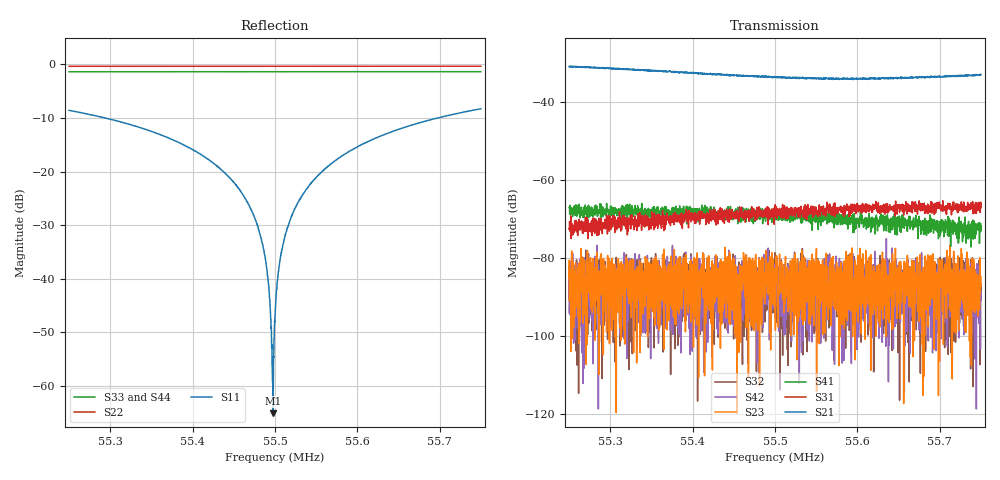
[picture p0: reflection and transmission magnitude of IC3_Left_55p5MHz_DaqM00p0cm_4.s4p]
#  HZ  S  DB  R  50.00
! Rohde & Schwarz Vector Network Analyzer
! Rohde-Schwarz,ZNB8-4Port,1311601044102961,2.82
! Created: UTC 2/12/2019, 5:01:15 PM
! freq[Hz]  db:S11  ang:S11  db:S12  ang:S12  db:S13  ang:S13  db:S14  ang:S14
!  db:S21  ang:S21  db:S22  ang:S22  db:S23  ang:S23  db:S24  ang:S24
!  db:S31  ang:S31  db:S32  ang:S32  db:S33  ang:S33  db:S34  ang:S34
!  db:S41  ang:S41  db:S42  ang:S42  db:S43  ang:S43  db:S44  ang:S44
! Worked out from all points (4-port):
!   2001 points, 55.25 MHz to 55.75 MHz, reference 50 ohm
!   strongest paths, dB at 55.25 MHz, 55.375 MHz, 55.5 MHz, 55.625 MHz, 55.75 MHz:
!     S21: -31.0, -32.2, -33.6, -34.0, -33.0
!     S31: -72.6, -70.0, -67.9, -68.4, -66.0
!     S41: -67.1, -68.6, -69.6, -70.9, -71.8
!     S23: -85.2, -83.0, -82.7, -92.2, -84.9
!     S42: -94.1, -96.9, -86.5, -91.9, -90.9
!     S32: -83.7, -85.4, -78.7, -82.1, -90.9
!   lowest |S11| = -65.1 dB at 55.4975 MHz (marker M1), VSWR 1.00, Z = 50.1 + j0.0191 ohm
!   |S11| at or under -10 dB: 55.2934 MHz to 55.6978 MHz (404.4 kHz wide, 0.729 % of centre)
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5.525e7  -8.60 -168.8  -30.90 68.4  -72.81 -26.1  -67.19 174.9
         -30.95 67.9  -0.37 94.2  -85.23 -140.1  -79.98 -3.6
         -72.57 -37.9  -83.66 -163.5  -1.39 35.4  -80.59 -146.1
         -67.09 -178.6  -94.07 24.3  -83.94 69.9  -1.38 29.0
5.5451e7  -22.24 157.9  -33.30 66.0  -68.85 -55.0  -68.81 169.3
          -33.12 67.2  -0.37 90.5  -94.16 -127.2  -81.99 -44.6
          -68.90 -53.7  -81.19 88.1  -1.38 33.0  -87.51 -8.0
          -68.79 156.9  -85.04 -39.3  -87.15 -23.8  -1.37 26.6
5.548425e7  -33.16 149.9  -33.50 67.8  -67.32 -55.7  -69.53 145.7
            -33.63 67.3  -0.37 89.9  -79.80 176.6  -86.74 -24.8
            -69.49 -58.0  -86.51 101.2  -1.38 32.6  -87.15 -14.0
            -69.07 147.9  -90.35 -147.9  -87.40 103.4  -1.37 26.2
5.54975e7  -65.11 20.1  -33.72 68.8  -67.93 -66.4  -69.62 156.1
           -33.65 69.5  -0.37 89.7  -80.32 160.5  -82.85 0.6
           -68.40 -68.8  -86.08 139.5  -1.39 32.5  -85.70 41.6
           -67.84 145.4  -87.42 -155.9  -80.85 146.6  -1.37 26.0
5.551075e7  -32.90 -31.1  -33.79 68.9  -66.07 -63.0  -69.84 160.3
            -33.64 70.4  -0.36 89.4  -94.03 80.8  -82.71 -128.4
            -68.17 -65.0  -82.66 -119.3  -1.38 32.3  -87.14 -35.8
            -68.62 152.6  -89.47 -138.1  -80.30 -179.4  -1.38 25.8
5.554525e7  -21.89 -37.6  -33.98 71.4  -68.19 -68.8  -70.65 148.9
            -33.89 71.7  -0.37 88.9  -80.86 -179.4  -89.40 -138.3
            -68.22 -73.4  -84.51 -32.4  -1.39 31.9  -87.04 69.0
            -72.96 129.7  -79.83 43.0  -87.11 117.5  -1.37 25.4
5.575e7  -8.30 -72.5  -33.04 83.9  -67.84 -95.2  -73.26 120.6
         -32.99 81.7  -0.36 85.1  -84.87 129.8  -93.85 34.8
         -65.98 -91.2  -90.86 -39.9  -1.37 29.4  -89.48 -62.4
         -71.77 153.2  -90.90 -113.9  -97.64 7.0  -1.37 22.9
